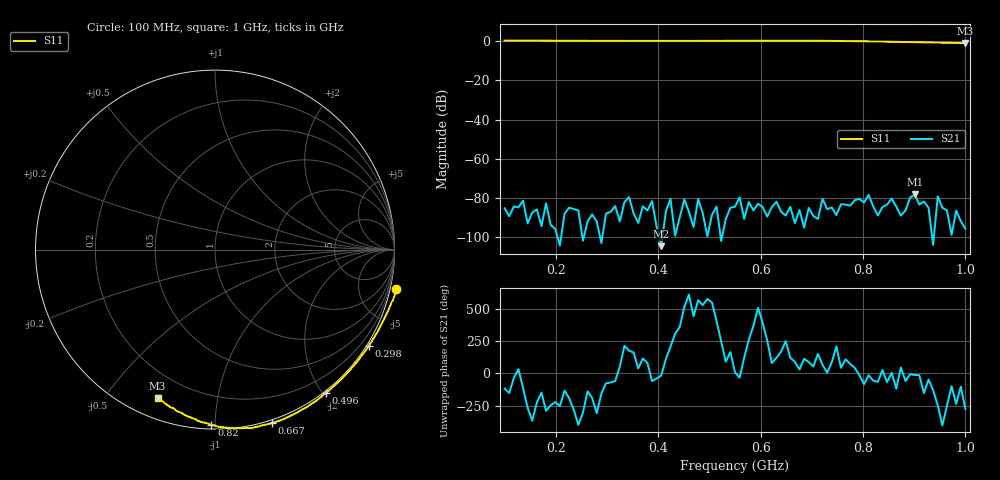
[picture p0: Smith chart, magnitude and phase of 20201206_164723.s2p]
# HZ S RI R 50
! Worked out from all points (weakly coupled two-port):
!   101 points, 100 MHz to 1 GHz, reference 50 ohm
!   highest |S21| = -78.15 dB at 901 MHz (marker M1); lowest = -104.5 dB at 406 MHz (marker M2)
!   lowest |S11| = -1.0 dB at 1 GHz (marker M3), VSWR 16.74, Z = 4.38 - j34.1 ohm
!   |S11| at or under -10 dB: nowhere
!   S12 and S22 are empty: the file has one direction only
!   S11 on the Smith chart (normalised r, x): 100 MHz: -1.35, -9.10; 298 MHz: -0.07, -3.49; 496 MHz: -0.03, -2.04; 667 MHz: -0.02, -1.38; 820 MHz: 0.02, -0.98; 1 GHz: 0.09, -0.68
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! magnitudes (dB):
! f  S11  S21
! 100 MHz  0.3  -85.2
! 253 MHz  0.1  -101.7
! 298 MHz  0.1  -88.0
! 343 MHz  0.1  -79.5
! 352 MHz  0.1  -87.8
! 406 MHz  0.1  -104.5
! 496 MHz  0.1  -99.5
! 550 MHz  0.1  -84.4
! 559 MHz  0.1  -79.6
! 667 MHz  0.1  -92.7
! 703 MHz  0.1  -89.0
! 802 MHz  -0.1  -82.3
! 811 MHz  -0.2  -78.3
! 820 MHz  -0.2  -84.2
! 856 MHz  -0.4  -80.2
! 892 MHz  -0.5  -79.7
! 901 MHz  -0.6  -78.1
! 910 MHz  -0.6  -83.3
! 937 MHz  -0.8  -103.8
! 946 MHz  -0.8  -79.1
! 955 MHz  -0.8  -84.9
! 1 GHz  -1.0  -95.6
